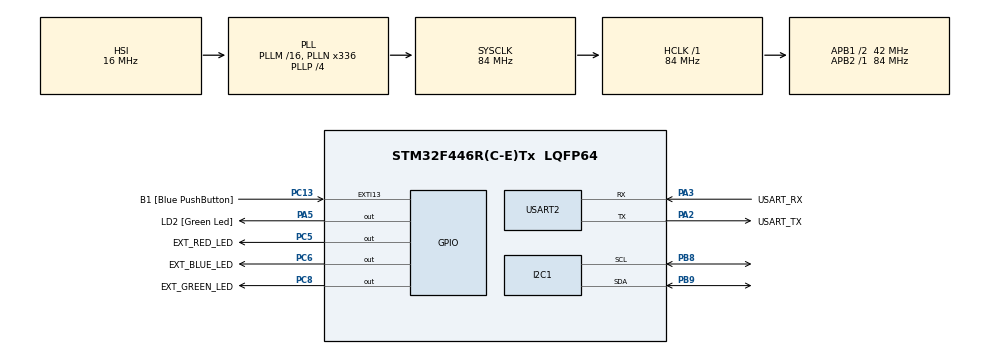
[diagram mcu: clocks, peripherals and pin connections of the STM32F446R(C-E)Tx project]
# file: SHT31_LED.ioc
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Mcu.Family=STM32F4
Mcu.Name=STM32F446R(C-E)Tx
Mcu.Package=LQFP64
NVIC.PriorityGroup=NVIC_PRIORITYGROUP_0
PA13.GPIO_Label=TMS
PA13.Mode=Serial_Wire
PA13.Signal=SYS_JTMS-SWDIO
PA14.GPIO_Label=TCK
PA14.Mode=Serial_Wire
PA14.Signal=SYS_JTCK-SWCLK
PA2.GPIO_Label=USART_TX
PA2.Mode=Asynchronous
PA2.Signal=USART2_TX
PA3.GPIO_Label=USART_RX
PA3.Mode=Asynchronous
PA3.Signal=USART2_RX
PA5.GPIO_Label=LD2 [Green Led]
PA5.Signal=GPIO_Output
PB3.GPIO_Label=SWO
PB3.Signal=SYS_JTDO-SWO
PB8.Mode=I2C
PB8.Signal=I2C1_SCL
PB9.Mode=I2C
PB9.Signal=I2C1_SDA
PC13.GPIO_Label=B1 [Blue PushButton]
PC13.GPIO_ModeDefaultEXTI=GPIO_MODE_IT_FALLING
PC13.Signal=GPXTI13
PC14-OSC32_IN.Mode=LSE-External-Oscillator
PC14-OSC32_IN.Signal=RCC_OSC32_IN
PC15-OSC32_OUT.Mode=LSE-External-Oscillator
PC15-OSC32_OUT.Signal=RCC_OSC32_OUT
PC5.GPIO_Label=EXT_RED_LED
PC5.PinState=GPIO_PIN_SET
PC5.Signal=GPIO_Output
PC6.GPIO_Label=EXT_BLUE_LED
PC6.PinState=GPIO_PIN_SET
PC6.Signal=GPIO_Output
PC8.GPIO_Label=EXT_GREEN_LED
PC8.GPIO_ModeDefaultOutputPP=GPIO_MODE_OUTPUT_PP
PC8.PinState=GPIO_PIN_SET
PC8.Signal=GPIO_Output
PH0-OSC_IN.Mode=HSE-External-Oscillator
PH0-OSC_IN.Signal=RCC_OSC_IN
PH1-OSC_OUT.Mode=HSE-External-Oscillator
PH1-OSC_OUT.Signal=RCC_OSC_OUT
ProjectManager.HeapSize=0x200
ProjectManager.StackSize=0x400
ProjectManager.TargetToolchain=STM32CubeIDE
RCC.48MHZClocksFreq_Value=84000000
RCC.AHBFreq_Value=84000000
RCC.APB1CLKDivider=RCC_HCLK_DIV2
RCC.APB1Freq_Value=42000000
RCC.APB1TimFreq_Value=84000000
RCC.APB2Freq_Value=84000000
RCC.APB2TimFreq_Value=84000000
RCC.CortexFreq_Value=84000000
RCC.FLatency-AdvancedSettings=FLASH_LATENCY_2
RCC.HCLKFreq_Value=84000000
RCC.HSE_VALUE=8000000
RCC.HSI_VALUE=16000000
RCC.PLLN=336
RCC.PLLP=RCC_PLLP_DIV4
RCC.SYSCLKFreq_VALUE=84000000
RCC.SYSCLKSource=RCC_SYSCLKSOURCE_PLLCLK
RCC.USBFreq_Value=168000000
RCC.VCOOutputFreq_Value=336000000
USART2.VirtualMode=VM_ASYNC
board=NUCLEO-F446RE

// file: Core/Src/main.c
/* USER CODE BEGIN Header */
/**
  ******************************************************************************
  * @file           : main.c
  * @brief          : Main program body
  ******************************************************************************
  * @attention
  *
  * Copyright (c) 2024 STMicroelectronics.
  * All rights reserved.
  *
  * This software is licensed under terms that can be found in the LICENSE file
  * in the root directory of this software component.
  * If no LICENSE file comes with this software, it is provided AS-IS.
  *
  ******************************************************************************
  */
/* USER CODE END Header */
#include "main.h"

/* USER CODE BEGIN PTD */
static void LED_ON(uint16_t gpio_pin);
static void LED_OFF(uint16_t gpio_pin);
static void RED_LED_ONLY();
static void GREEN_LED_ONLY();
static void BLUE_LED_ONLY();
static uint8_t read_sht31_outputs(float * temp_c, float * humidity);
/* USER CODE END PTD */

I2C_HandleTypeDef hi2c1;

UART_HandleTypeDef huart2;

/* USER CODE BEGIN PV */
static const uint8_t SHT31_ADD = 0x44 << 1;
/* USER CODE END PV */

void SystemClock_Config(void);
static void MX_GPIO_Init(void);
static void MX_USART2_UART_Init(void);
static void MX_I2C1_Init(void);

int main(void)
{
  /* USER CODE BEGIN 1 */
	float temp_c;
	float humidity;
  /* USER CODE END 1 */

  /* MCU Configuration--------------------------------------------------------*/

  /* Reset of all peripherals, Initializes the Flash interface and the Systick. */
  HAL_Init();

  /* Configure the system clock */
  SystemClock_Config();

  /* Initialize all configured peripherals */
  MX_GPIO_Init();
  MX_USART2_UART_Init();
  MX_I2C1_Init();
  /* USER CODE BEGIN 2 */
  uint8_t msg[64];
  uint8_t return_status;
  float humidity_limit = 70.0f;
  /* USER CODE END 2 */

  /* Infinite loop */
  /* USER CODE BEGIN WHILE */
  while (1)
  {
	  return_status = read_sht31_outputs(&temp_c, &humidity);
	  if (return_status != 0) {
		  sprintf((char*)msg, "Failed to read from SHT31, error code: %i\r\n", return_status);
		  BLUE_LED_ONLY();
	  }
	  else {
		  sprintf((char*)msg, "Temperature: %.1f'C%, Humidity: %.1f%%\r\n", temp_c, humidity);
		  if (humidity >= humidity_limit) {
			  RED_LED_ONLY();
		  } else {
			  GREEN_LED_ONLY();
		  }
	  }

	  HAL_UART_Transmit(&huart2, msg, strlen((char*) msg), 100);

	  HAL_Delay(1000);
    /* USER CODE END WHILE */

  }
}

void SystemClock_Config(void)
{
  RCC_OscInitTypeDef RCC_OscInitStruct = {0};
  RCC_ClkInitTypeDef RCC_ClkInitStruct = {0};

  /** Configure the main internal regulator output voltage
  */
  __HAL_RCC_PWR_CLK_ENABLE();
  __HAL_PWR_VOLTAGESCALING_CONFIG(PWR_REGULATOR_VOLTAGE_SCALE3);

  /** Initializes the RCC Oscillators according to the specified parameters
  * in the RCC_OscInitTypeDef structure.
  */
  RCC_OscInitStruct.OscillatorType = RCC_OSCILLATORTYPE_HSI;
  RCC_OscInitStruct.HSIState = RCC_HSI_ON;
  RCC_OscInitStruct.HSICalibrationValue = RCC_HSICALIBRATION_DEFAULT;
  RCC_OscInitStruct.PLL.PLLState = RCC_PLL_ON;
  RCC_OscInitStruct.PLL.PLLSource = RCC_PLLSOURCE_HSI;
  RCC_OscInitStruct.PLL.PLLM = 16;
  RCC_OscInitStruct.PLL.PLLN = 336;
  RCC_OscInitStruct.PLL.PLLP = RCC_PLLP_DIV4;
  RCC_OscInitStruct.PLL.PLLQ = 2;
  RCC_OscInitStruct.PLL.PLLR = 2;
  if (HAL_RCC_OscConfig(&RCC_OscInitStruct) != HAL_OK)
  {
    Error_Handler();
  }

  /** Initializes the CPU, AHB and APB buses clocks
  */
  RCC_ClkInitStruct.ClockType = RCC_CLOCKTYPE_HCLK|RCC_CLOCKTYPE_SYSCLK
                              |RCC_CLOCKTYPE_PCLK1|RCC_CLOCKTYPE_PCLK2;
  RCC_ClkInitStruct.SYSCLKSource = RCC_SYSCLKSOURCE_PLLCLK;
  RCC_ClkInitStruct.AHBCLKDivider = RCC_SYSCLK_DIV1;
  RCC_ClkInitStruct.APB1CLKDivider = RCC_HCLK_DIV2;
  RCC_ClkInitStruct.APB2CLKDivider = RCC_HCLK_DIV1;

  if (HAL_RCC_ClockConfig(&RCC_ClkInitStruct, FLASH_LATENCY_2) != HAL_OK)
  {
    Error_Handler();
  }
}

static void MX_I2C1_Init(void)
{

  hi2c1.Instance = I2C1;
  hi2c1.Init.ClockSpeed = 100000;
  hi2c1.Init.DutyCycle = I2C_DUTYCYCLE_2;
  hi2c1.Init.OwnAddress1 = 0;
  hi2c1.Init.AddressingMode = I2C_ADDRESSINGMODE_7BIT;
  hi2c1.Init.DualAddressMode = I2C_DUALADDRESS_DISABLE;
  hi2c1.Init.OwnAddress2 = 0;
  hi2c1.Init.GeneralCallMode = I2C_GENERALCALL_DISABLE;
  hi2c1.Init.NoStretchMode = I2C_NOSTRETCH_DISABLE;
  if (HAL_I2C_Init(&hi2c1) != HAL_OK)
  {
    Error_Handler();
  }

}

static void MX_USART2_UART_Init(void)
{

  huart2.Instance = USART2;
  huart2.Init.BaudRate = 115200;
  huart2.Init.WordLength = UART_WORDLENGTH_8B;
  huart2.Init.StopBits = UART_STOPBITS_1;
  huart2.Init.Parity = UART_PARITY_NONE;
  huart2.Init.Mode = UART_MODE_TX_RX;
  huart2.Init.HwFlowCtl = UART_HWCONTROL_NONE;
  huart2.Init.OverSampling = UART_OVERSAMPLING_16;
  if (HAL_UART_Init(&huart2) != HAL_OK)
  {
    Error_Handler();
  }

}

static void MX_GPIO_Init(void)
{
  GPIO_InitTypeDef GPIO_InitStruct = {0};

  /* GPIO Ports Clock Enable */
  __HAL_RCC_GPIOC_CLK_ENABLE();
  __HAL_RCC_GPIOH_CLK_ENABLE();
  __HAL_RCC_GPIOA_CLK_ENABLE();
  __HAL_RCC_GPIOB_CLK_ENABLE();

  /*Configure GPIO pin Output Level */
  HAL_GPIO_WritePin(LD2_GPIO_Port, LD2_Pin, GPIO_PIN_RESET);

  /*Configure GPIO pin Output Level */
  HAL_GPIO_WritePin(GPIOC, EXT_RED_LED_Pin|EXT_BLUE_LED_Pin|EXT_GREEN_LED_Pin, GPIO_PIN_SET);

  /*Configure GPIO pin : B1_Pin */
  GPIO_InitStruct.Pin = B1_Pin;
  GPIO_InitStruct.Mode = GPIO_MODE_IT_FALLING;
  GPIO_InitStruct.Pull = GPIO_NOPULL;
  HAL_GPIO_Init(B1_GPIO_Port, &GPIO_InitStruct);

  /*Configure GPIO pin : LD2_Pin */
  GPIO_InitStruct.Pin = LD2_Pin;
  GPIO_InitStruct.Mode = GPIO_MODE_OUTPUT_PP;
  GPIO_InitStruct.Pull = GPIO_NOPULL;
  GPIO_InitStruct.Speed = GPIO_SPEED_FREQ_LOW;
  HAL_GPIO_Init(LD2_GPIO_Port, &GPIO_InitStruct);

  /*Configure GPIO pins : EXT_RED_LED_Pin EXT_BLUE_LED_Pin EXT_GREEN_LED_Pin */
  GPIO_InitStruct.Pin = EXT_RED_LED_Pin|EXT_BLUE_LED_Pin|EXT_GREEN_LED_Pin;
  GPIO_InitStruct.Mode = GPIO_MODE_OUTPUT_PP;
  GPIO_InitStruct.Pull = GPIO_NOPULL;
  GPIO_InitStruct.Speed = GPIO_SPEED_FREQ_LOW;
  HAL_GPIO_Init(GPIOC, &GPIO_InitStruct);

}

/* USER CODE BEGIN 4 */

static void LED_ON(uint16_t gpio_pin)
{
	HAL_GPIO_WritePin(GPIOC, gpio_pin, GPIO_PIN_RESET);
}

static void LED_OFF(uint16_t gpio_pin)
{
	HAL_GPIO_WritePin(GPIOC, gpio_pin, GPIO_PIN_SET);
}

static void RED_LED_ONLY()
{
	LED_OFF(EXT_GREEN_LED_Pin);
	LED_OFF(EXT_BLUE_LED_Pin);
  	LED_ON(EXT_RED_LED_Pin);
}

static void GREEN_LED_ONLY()
{
	LED_OFF(EXT_RED_LED_Pin);
	LED_OFF(EXT_BLUE_LED_Pin);
	LED_ON(EXT_GREEN_LED_Pin);
}

static void BLUE_LED_ONLY()
{
	LED_OFF(EXT_RED_LED_Pin);
	LED_OFF(EXT_GREEN_LED_Pin);
	LED_ON(EXT_BLUE_LED_Pin);
}

static uint8_t read_sht31_outputs(float * temp_c, float * humidity)
{
	uint8_t data[10];
	uint8_t command_buffer[2] = {0x2C, 0x06};
	HAL_StatusTypeDef ret = HAL_I2C_Master_Transmit(&hi2c1, SHT31_ADD, command_buffer, 2, 100);
	if (ret != HAL_OK) {
		return 1;
	} else {
		ret = HAL_I2C_Master_Receive(&hi2c1, SHT31_ADD, data, 6, 100);
		if (ret != HAL_OK) {
			return 2;
		} else {
			uint16_t temp_raw = data[0] << 8 | data[1];
			*temp_c = ((float)temp_raw * 175.0f / 65535.0f) - 45.0f;

			uint16_t humidity_raw = data[3] << 8 | data[4];
			*humidity = ((float)humidity_raw * 100.0f / 65535.0f);
		}
	}
	return 0;
}

/* USER CODE END 4 */

void Error_Handler(void)
{
  __disable_irq();
  while (1)
  {
  }
}
